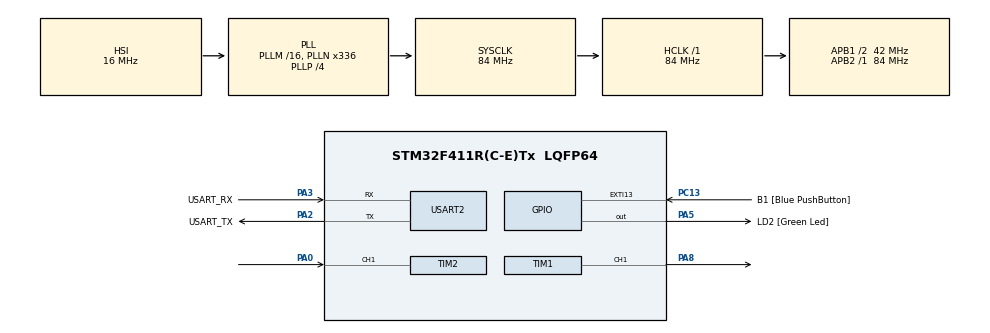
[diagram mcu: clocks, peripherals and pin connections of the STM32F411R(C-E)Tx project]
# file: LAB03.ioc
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Dma.Request0=TIM2_CH1
Dma.TIM2_CH1.0.Direction=DMA_PERIPH_TO_MEMORY
Dma.TIM2_CH1.0.FIFOMode=DMA_FIFOMODE_DISABLE
Dma.TIM2_CH1.0.Instance=DMA1_Stream5
Dma.TIM2_CH1.0.MemDataAlignment=DMA_MDATAALIGN_WORD
Dma.TIM2_CH1.0.MemInc=DMA_MINC_ENABLE
Dma.TIM2_CH1.0.Mode=DMA_CIRCULAR
Dma.TIM2_CH1.0.PeriphDataAlignment=DMA_PDATAALIGN_WORD
Dma.TIM2_CH1.0.PeriphInc=DMA_PINC_DISABLE
Dma.TIM2_CH1.0.Priority=DMA_PRIORITY_LOW
Mcu.Family=STM32F4
Mcu.Name=STM32F411R(C-E)Tx
Mcu.Package=LQFP64
NVIC.DMA1_Stream5_IRQn=true\:0\:0\:false\:false\:true\:false\:true\:true
NVIC.PriorityGroup=NVIC_PRIORITYGROUP_0
PA0-WKUP.Signal=S_TIM2_CH1_ETR
PA13.GPIO_Label=TMS
PA13.Mode=Serial_Wire
PA13.Signal=SYS_JTMS-SWDIO
PA14.GPIO_Label=TCK
PA14.Mode=Serial_Wire
PA14.Signal=SYS_JTCK-SWCLK
PA2.GPIO_Label=USART_TX
PA2.Mode=Asynchronous
PA2.Signal=USART2_TX
PA3.GPIO_Label=USART_RX
PA3.Mode=Asynchronous
PA3.Signal=USART2_RX
PA5.GPIO_Label=LD2 [Green Led]
PA5.Signal=GPIO_Output
PA8.Signal=S_TIM1_CH1
PB3.GPIO_Label=SWO
PB3.Signal=SYS_JTDO-SWO
PC13-ANTI_TAMP.GPIO_Label=B1 [Blue PushButton]
PC13-ANTI_TAMP.GPIO_ModeDefaultEXTI=GPIO_MODE_IT_FALLING
PC13-ANTI_TAMP.Signal=GPXTI13
PC14-OSC32_IN.Mode=LSE-External-Oscillator
PC14-OSC32_IN.Signal=RCC_OSC32_IN
PC15-OSC32_OUT.Mode=LSE-External-Oscillator
PC15-OSC32_OUT.Signal=RCC_OSC32_OUT
PH0\ -\ OSC_IN.Mode=HSE-External-Clock-Source
PH0\ -\ OSC_IN.Signal=RCC_OSC_IN
PH1\ -\ OSC_OUT.Mode=HSE-External-Clock-Source
PH1\ -\ OSC_OUT.Signal=RCC_OSC_OUT
ProjectManager.HeapSize=0x200
ProjectManager.StackSize=0x400
ProjectManager.TargetToolchain=STM32CubeIDE
RCC.48MHZClocksFreq_Value=84000000
RCC.AHBFreq_Value=84000000
RCC.APB1CLKDivider=RCC_HCLK_DIV2
RCC.APB1Freq_Value=42000000
RCC.APB1TimFreq_Value=84000000
RCC.APB2Freq_Value=84000000
RCC.APB2TimFreq_Value=84000000
RCC.CortexFreq_Value=84000000
RCC.FLatency-AdvancedSettings=FLASH_LATENCY_2
RCC.HCLKFreq_Value=84000000
RCC.HSE_VALUE=8000000
RCC.HSI_VALUE=16000000
RCC.PLLN=336
RCC.PLLP=RCC_PLLP_DIV4
RCC.SYSCLKFreq_VALUE=84000000
RCC.SYSCLKSource=RCC_SYSCLKSOURCE_PLLCLK
RCC.VCOOutputFreq_Value=336000000
SH.S_TIM1_CH1.0=TIM1_CH1,PWM Generation1 CH1
SH.S_TIM2_CH1_ETR.0=TIM2_CH1,Input_Capture1_from_TI1
TIM1.Channel-PWM\ Generation1\ CH1=TIM_CHANNEL_1
TIM1.Period=999
TIM1.Prescaler=83
TIM1.Pulse-PWM\ Generation1\ CH1=500
TIM2.Channel-Input_Capture1_from_TI1=TIM_CHANNEL_1
TIM2.Prescaler=83
USART2.VirtualMode=VM_ASYNC
VP_TIM1_VS_ClockSourceINT.Mode=Internal
VP_TIM2_VS_ClockSourceINT.Mode=Internal
board=NUCLEO-F411RE

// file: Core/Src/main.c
/* USER CODE BEGIN Header */
/**
  ******************************************************************************
  * @file           : main.c
  * @brief          : Main program body
  ******************************************************************************
  * @attention
  *
  * Copyright (c) 2023 STMicroelectronics.
  * All rights reserved.
  *
  * This software is licensed under terms that can be found in the LICENSE file
  * in the root directory of this software component.
  * If no LICENSE file comes with this software, it is provided AS-IS.
  *
  ******************************************************************************
  */
/* USER CODE END Header */
#include "main.h"

/* USER CODE BEGIN Includes */
#define IC_BUFFER_SIZE 20
/* USER CODE END Includes */

TIM_HandleTypeDef htim1;
TIM_HandleTypeDef htim2;
DMA_HandleTypeDef hdma_tim2_ch1;

UART_HandleTypeDef huart2;

/* USER CODE BEGIN PV */
uint32_t InputCaptureBuffer[IC_BUFFER_SIZE];
float averageRisingedgePeriod;
uint32_t duty = 0;
uint32_t MotorSetDuty = 50;
float MotorReadRPM = 0;
float MotorSetRPM = 5;
int MotorControlEnable = 1;
/* USER CODE END PV */

void SystemClock_Config(void);
static void MX_GPIO_Init(void);
static void MX_DMA_Init(void);
static void MX_USART2_UART_Init(void);
static void MX_TIM1_Init(void);
static void MX_TIM2_Init(void);
/* USER CODE BEGIN PFP */
float IC_Calc_Period();
/* USER CODE END PFP */

int main(void)
{

  /* MCU Configuration--------------------------------------------------------*/

  /* Reset of all peripherals, Initializes the Flash interface and the Systick. */
  HAL_Init();

  /* Configure the system clock */
  SystemClock_Config();

  /* Initialize all configured peripherals */
  MX_GPIO_Init();
  MX_DMA_Init();
  MX_USART2_UART_Init();
  MX_TIM1_Init();
  MX_TIM2_Init();
  /* USER CODE BEGIN 2 */
  HAL_TIM_Base_Start(&htim2);
  HAL_TIM_IC_Start_DMA(&htim2, TIM_CHANNEL_1, InputCaptureBuffer, IC_BUFFER_SIZE);

  HAL_TIM_Base_Start(&htim1);
  HAL_TIM_PWM_Start(&htim1, TIM_CHANNEL_1);

  duty = MotorSetDuty*10;

  /* USER CODE END 2 */

  /* Infinite loop */
  while (1)
  {

    /* USER CODE BEGIN 3 */

	  static uint32_t timestamp = 0;
	  if (HAL_GetTick() >= timestamp)
	  {
		  timestamp = HAL_GetTick()+10;
		  averageRisingedgePeriod = IC_Calc_Period();
		  MotorReadRPM = 1/(averageRisingedgePeriod*768/60000000);
	  }

	  static uint32_t dutycycleupdate = 0;
	  if (HAL_GetTick() >= dutycycleupdate)
	  {
		  dutycycleupdate = HAL_GetTick() +10;
		  if (MotorControlEnable == 1)
		  {
			  if (MotorReadRPM < MotorSetRPM)
			  {
				  if (duty < 50)
				  {
					  duty = 50;
				  }
				  else if (duty >= 50)
				  {
					  duty += 1;
				  }
			  }
			  else if (MotorReadRPM > MotorSetRPM)
			  {
				  if (duty < 50)
				  {
					  duty = 50;
				  }
				  else if (duty >= 50)
				  {
					  duty -= 1;
				  }
			  }
		  }
		  else if (MotorControlEnable == 0)
		  {
			  duty = MotorSetDuty*10;
		  }
	  }

	  __HAL_TIM_SET_COMPARE(&htim1,TIM_CHANNEL_1,duty);

  }
  /* USER CODE END 3 */
}

void SystemClock_Config(void)
{
  RCC_OscInitTypeDef RCC_OscInitStruct = {0};
  RCC_ClkInitTypeDef RCC_ClkInitStruct = {0};

  /** Configure the main internal regulator output voltage
  */
  __HAL_RCC_PWR_CLK_ENABLE();
  __HAL_PWR_VOLTAGESCALING_CONFIG(PWR_REGULATOR_VOLTAGE_SCALE1);

  /** Initializes the RCC Oscillators according to the specified parameters
  * in the RCC_OscInitTypeDef structure.
  */
  RCC_OscInitStruct.OscillatorType = RCC_OSCILLATORTYPE_HSI;
  RCC_OscInitStruct.HSIState = RCC_HSI_ON;
  RCC_OscInitStruct.HSICalibrationValue = RCC_HSICALIBRATION_DEFAULT;
  RCC_OscInitStruct.PLL.PLLState = RCC_PLL_ON;
  RCC_OscInitStruct.PLL.PLLSource = RCC_PLLSOURCE_HSI;
  RCC_OscInitStruct.PLL.PLLM = 16;
  RCC_OscInitStruct.PLL.PLLN = 336;
  RCC_OscInitStruct.PLL.PLLP = RCC_PLLP_DIV4;
  RCC_OscInitStruct.PLL.PLLQ = 4;
  if (HAL_RCC_OscConfig(&RCC_OscInitStruct) != HAL_OK)
  {
    Error_Handler();
  }

  /** Initializes the CPU, AHB and APB buses clocks
  */
  RCC_ClkInitStruct.ClockType = RCC_CLOCKTYPE_HCLK|RCC_CLOCKTYPE_SYSCLK
                              |RCC_CLOCKTYPE_PCLK1|RCC_CLOCKTYPE_PCLK2;
  RCC_ClkInitStruct.SYSCLKSource = RCC_SYSCLKSOURCE_PLLCLK;
  RCC_ClkInitStruct.AHBCLKDivider = RCC_SYSCLK_DIV1;
  RCC_ClkInitStruct.APB1CLKDivider = RCC_HCLK_DIV2;
  RCC_ClkInitStruct.APB2CLKDivider = RCC_HCLK_DIV1;

  if (HAL_RCC_ClockConfig(&RCC_ClkInitStruct, FLASH_LATENCY_2) != HAL_OK)
  {
    Error_Handler();
  }
}

static void MX_TIM1_Init(void)
{

  TIM_ClockConfigTypeDef sClockSourceConfig = {0};
  TIM_MasterConfigTypeDef sMasterConfig = {0};
  TIM_OC_InitTypeDef sConfigOC = {0};
  TIM_BreakDeadTimeConfigTypeDef sBreakDeadTimeConfig = {0};

  htim1.Instance = TIM1;
  htim1.Init.Prescaler = 83;
  htim1.Init.CounterMode = TIM_COUNTERMODE_UP;
  htim1.Init.Period = 999;
  htim1.Init.ClockDivision = TIM_CLOCKDIVISION_DIV1;
  htim1.Init.RepetitionCounter = 0;
  htim1.Init.AutoReloadPreload = TIM_AUTORELOAD_PRELOAD_DISABLE;
  if (HAL_TIM_Base_Init(&htim1) != HAL_OK)
  {
    Error_Handler();
  }
  sClockSourceConfig.ClockSource = TIM_CLOCKSOURCE_INTERNAL;
  if (HAL_TIM_ConfigClockSource(&htim1, &sClockSourceConfig) != HAL_OK)
  {
    Error_Handler();
  }
  if (HAL_TIM_PWM_Init(&htim1) != HAL_OK)
  {
    Error_Handler();
  }
  sMasterConfig.MasterOutputTrigger = TIM_TRGO_RESET;
  sMasterConfig.MasterSlaveMode = TIM_MASTERSLAVEMODE_DISABLE;
  if (HAL_TIMEx_MasterConfigSynchronization(&htim1, &sMasterConfig) != HAL_OK)
  {
    Error_Handler();
  }
  sConfigOC.OCMode = TIM_OCMODE_PWM1;
  sConfigOC.Pulse = 500;
  sConfigOC.OCPolarity = TIM_OCPOLARITY_HIGH;
  sConfigOC.OCNPolarity = TIM_OCNPOLARITY_HIGH;
  sConfigOC.OCFastMode = TIM_OCFAST_DISABLE;
  sConfigOC.OCIdleState = TIM_OCIDLESTATE_RESET;
  sConfigOC.OCNIdleState = TIM_OCNIDLESTATE_RESET;
  if (HAL_TIM_PWM_ConfigChannel(&htim1, &sConfigOC, TIM_CHANNEL_1) != HAL_OK)
  {
    Error_Handler();
  }
  sBreakDeadTimeConfig.OffStateRunMode = TIM_OSSR_DISABLE;
  sBreakDeadTimeConfig.OffStateIDLEMode = TIM_OSSI_DISABLE;
  sBreakDeadTimeConfig.LockLevel = TIM_LOCKLEVEL_OFF;
  sBreakDeadTimeConfig.DeadTime = 0;
  sBreakDeadTimeConfig.BreakState = TIM_BREAK_DISABLE;
  sBreakDeadTimeConfig.BreakPolarity = TIM_BREAKPOLARITY_HIGH;
  sBreakDeadTimeConfig.AutomaticOutput = TIM_AUTOMATICOUTPUT_DISABLE;
  if (HAL_TIMEx_ConfigBreakDeadTime(&htim1, &sBreakDeadTimeConfig) != HAL_OK)
  {
    Error_Handler();
  }
  HAL_TIM_MspPostInit(&htim1);

}

static void MX_TIM2_Init(void)
{

  TIM_ClockConfigTypeDef sClockSourceConfig = {0};
  TIM_MasterConfigTypeDef sMasterConfig = {0};
  TIM_IC_InitTypeDef sConfigIC = {0};

  htim2.Instance = TIM2;
  htim2.Init.Prescaler = 83;
  htim2.Init.CounterMode = TIM_COUNTERMODE_UP;
  htim2.Init.Period = 4294967295;
  htim2.Init.ClockDivision = TIM_CLOCKDIVISION_DIV1;
  htim2.Init.AutoReloadPreload = TIM_AUTORELOAD_PRELOAD_DISABLE;
  if (HAL_TIM_Base_Init(&htim2) != HAL_OK)
  {
    Error_Handler();
  }
  sClockSourceConfig.ClockSource = TIM_CLOCKSOURCE_INTERNAL;
  if (HAL_TIM_ConfigClockSource(&htim2, &sClockSourceConfig) != HAL_OK)
  {
    Error_Handler();
  }
  if (HAL_TIM_IC_Init(&htim2) != HAL_OK)
  {
    Error_Handler();
  }
  sMasterConfig.MasterOutputTrigger = TIM_TRGO_RESET;
  sMasterConfig.MasterSlaveMode = TIM_MASTERSLAVEMODE_DISABLE;
  if (HAL_TIMEx_MasterConfigSynchronization(&htim2, &sMasterConfig) != HAL_OK)
  {
    Error_Handler();
  }
  sConfigIC.ICPolarity = TIM_INPUTCHANNELPOLARITY_RISING;
  sConfigIC.ICSelection = TIM_ICSELECTION_DIRECTTI;
  sConfigIC.ICPrescaler = TIM_ICPSC_DIV1;
  sConfigIC.ICFilter = 0;
  if (HAL_TIM_IC_ConfigChannel(&htim2, &sConfigIC, TIM_CHANNEL_1) != HAL_OK)
  {
    Error_Handler();
  }

}

static void MX_USART2_UART_Init(void)
{

  huart2.Instance = USART2;
  huart2.Init.BaudRate = 115200;
  huart2.Init.WordLength = UART_WORDLENGTH_8B;
  huart2.Init.StopBits = UART_STOPBITS_1;
  huart2.Init.Parity = UART_PARITY_NONE;
  huart2.Init.Mode = UART_MODE_TX_RX;
  huart2.Init.HwFlowCtl = UART_HWCONTROL_NONE;
  huart2.Init.OverSampling = UART_OVERSAMPLING_16;
  if (HAL_UART_Init(&huart2) != HAL_OK)
  {
    Error_Handler();
  }

}

static void MX_DMA_Init(void)
{

  /* DMA controller clock enable */
  __HAL_RCC_DMA1_CLK_ENABLE();

  /* DMA interrupt init */
  /* DMA1_Stream5_IRQn interrupt configuration */
  HAL_NVIC_SetPriority(DMA1_Stream5_IRQn, 0, 0);
  HAL_NVIC_EnableIRQ(DMA1_Stream5_IRQn);

}

static void MX_GPIO_Init(void)
{
  GPIO_InitTypeDef GPIO_InitStruct = {0};

  /* GPIO Ports Clock Enable */
  __HAL_RCC_GPIOC_CLK_ENABLE();
  __HAL_RCC_GPIOH_CLK_ENABLE();
  __HAL_RCC_GPIOA_CLK_ENABLE();
  __HAL_RCC_GPIOB_CLK_ENABLE();

  /*Configure GPIO pin Output Level */
  HAL_GPIO_WritePin(LD2_GPIO_Port, LD2_Pin, GPIO_PIN_RESET);

  /*Configure GPIO pin : B1_Pin */
  GPIO_InitStruct.Pin = B1_Pin;
  GPIO_InitStruct.Mode = GPIO_MODE_IT_FALLING;
  GPIO_InitStruct.Pull = GPIO_NOPULL;
  HAL_GPIO_Init(B1_GPIO_Port, &GPIO_InitStruct);

  /*Configure GPIO pin : LD2_Pin */
  GPIO_InitStruct.Pin = LD2_Pin;
  GPIO_InitStruct.Mode = GPIO_MODE_OUTPUT_PP;
  GPIO_InitStruct.Pull = GPIO_NOPULL;
  GPIO_InitStruct.Speed = GPIO_SPEED_FREQ_LOW;
  HAL_GPIO_Init(LD2_GPIO_Port, &GPIO_InitStruct);

}

/* USER CODE BEGIN 4 */
float IC_Calc_Period()
{
	uint32_t currentDMAPointer = IC_BUFFER_SIZE - __HAL_DMA_GET_COUNTER((htim2.hdma[1]));
	uint32_t lastValidDMAPointer = (currentDMAPointer-1 + IC_BUFFER_SIZE) % IC_BUFFER_SIZE;
	uint32_t i = (lastValidDMAPointer + IC_BUFFER_SIZE - 5) % IC_BUFFER_SIZE;
	int32_t sumdiff = 0;
	while (i != lastValidDMAPointer)
	{
		uint32_t firstCapture = InputCaptureBuffer[i];
		uint32_t NextCapture = InputCaptureBuffer[(i+1)%IC_BUFFER_SIZE];
		sumdiff += NextCapture - firstCapture;
		i = (i+1) % IC_BUFFER_SIZE;
	}
	return sumdiff / 5.0;
}
/* USER CODE END 4 */

void Error_Handler(void)
{
  __disable_irq();
  while (1)
  {
  }
}
